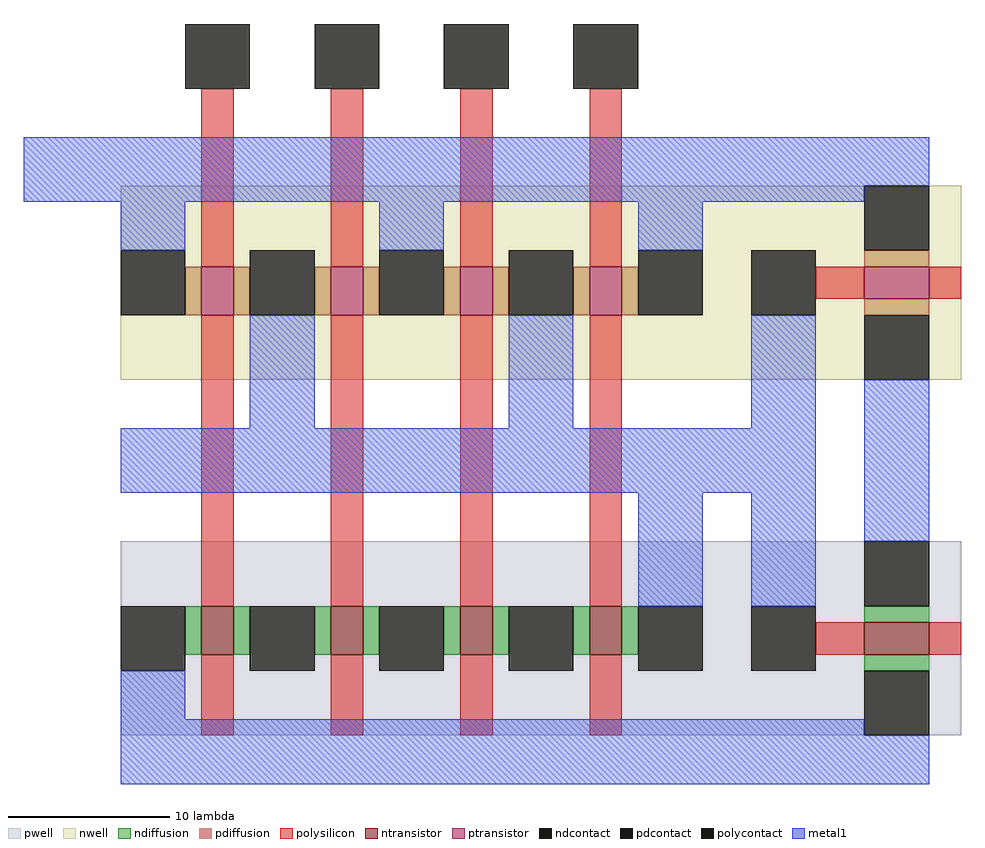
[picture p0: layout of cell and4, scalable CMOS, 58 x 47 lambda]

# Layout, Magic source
magic
tech scmos
<< pwell >>
rect -19 -44 33 -32
<< nwell >>
rect -19 -22 33 -10
<< polysilicon >>
rect -14 -15 -12 -4
rect -6 -15 -4 -4
rect 2 -15 4 -4
rect 10 -15 12 -4
rect 24 -17 27 -15
rect 31 -17 33 -15
rect -14 -36 -12 -18
rect -6 -36 -4 -18
rect 2 -36 4 -18
rect 10 -36 12 -18
rect -14 -44 -12 -39
rect -6 -44 -4 -39
rect 2 -44 4 -39
rect 10 -44 12 -39
rect 24 -39 27 -37
rect 31 -39 33 -37
<< ndiffusion >>
rect -15 -39 -14 -36
rect -12 -39 -11 -36
rect -7 -39 -6 -36
rect -4 -39 -3 -36
rect 1 -39 2 -36
rect 4 -39 5 -36
rect 9 -39 10 -36
rect 12 -39 13 -36
rect 27 -37 31 -36
rect 27 -40 31 -39
<< pdiffusion >>
rect -15 -18 -14 -15
rect -12 -18 -11 -15
rect -7 -18 -6 -15
rect -4 -18 -3 -15
rect 1 -18 2 -15
rect 4 -18 5 -15
rect 9 -18 10 -15
rect 12 -18 13 -15
rect 27 -15 31 -14
rect 27 -18 31 -17
<< metal1 >>
rect -25 -10 31 -7
rect -25 -11 27 -10
rect -19 -14 -15 -11
rect -3 -14 1 -11
rect 13 -14 17 -11
rect -11 -25 -7 -18
rect 5 -25 9 -18
rect 20 -25 24 -18
rect -19 -29 24 -25
rect 13 -36 17 -29
rect 20 -36 24 -29
rect 27 -32 31 -22
rect -19 -43 -15 -40
rect -19 -44 27 -43
rect -19 -47 31 -44
<< ntransistor >>
rect -14 -39 -12 -36
rect -6 -39 -4 -36
rect 2 -39 4 -36
rect 10 -39 12 -36
rect 27 -39 31 -37
<< ptransistor >>
rect -14 -18 -12 -15
rect -6 -18 -4 -15
rect 2 -18 4 -15
rect 10 -18 12 -15
rect 27 -17 31 -15
<< polycontact >>
rect -15 -4 -11 0
rect -7 -4 -3 0
rect 1 -4 5 0
rect 9 -4 13 0
rect 20 -18 24 -14
rect 20 -40 24 -36
<< ndcontact >>
rect 27 -36 31 -32
rect -19 -40 -15 -36
rect -11 -40 -7 -36
rect -3 -40 1 -36
rect 5 -40 9 -36
rect 13 -40 17 -36
rect 27 -44 31 -40
<< pdcontact >>
rect -19 -18 -15 -14
rect -11 -18 -7 -14
rect -3 -18 1 -14
rect 5 -18 9 -14
rect 27 -14 31 -10
rect 13 -18 17 -14
rect 27 -22 31 -18
<< end >>
